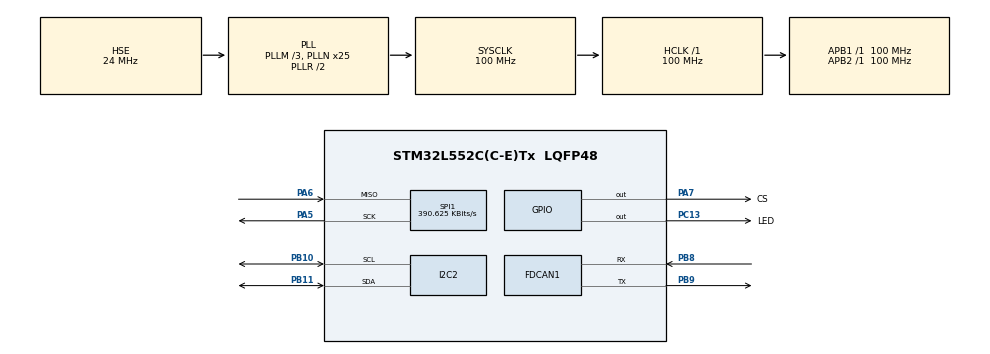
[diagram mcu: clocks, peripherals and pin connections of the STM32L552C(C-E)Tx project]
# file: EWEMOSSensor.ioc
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FDCAN1.AutoRetransmission=ENABLE
FDCAN1.CalculateBaudRateNominal=500000
FDCAN1.CalculateTimeBitNominal=2000
FDCAN1.CalculateTimeQuantumNominal=20.0
FDCAN1.ClockDivider=FDCAN_CLOCK_DIV2
FDCAN1.DataPrescaler=2
FDCAN1.DataSyncJumpWidth=12
FDCAN1.DataTimeSeg1=12
FDCAN1.DataTimeSeg2=12
FDCAN1.FrameFormat=FDCAN_FRAME_FD_NO_BRS
FDCAN1.NominalPrescaler=1
FDCAN1.NominalSyncJumpWidth=2
FDCAN1.NominalTimeSeg1=97
FDCAN1.StdFiltersNbr=1
I2C2.Timing=0x10C0ECFF
Mcu.Family=STM32L5
Mcu.Name=STM32L552C(C-E)Tx
Mcu.Package=LQFP48
NVIC.FDCAN1_IT0_IRQn=true\:5\:0\:true\:false\:true\:true\:true\:true
NVIC.PriorityGroup=NVIC_PRIORITYGROUP_3
PA13\ (JTMS/SWDIO).Mode=Trace_Asynchronous_SW
PA13\ (JTMS/SWDIO).Signal=DEBUG_JTMS-SWDIO
PA14\ (JTCK/SWCLK).Mode=Trace_Asynchronous_SW
PA14\ (JTCK/SWCLK).Signal=DEBUG_JTCK-SWCLK
PA5.Mode=RX_Only_Simplex_Unidirect_Master
PA5.Signal=SPI1_SCK
PA6.Mode=RX_Only_Simplex_Unidirect_Master
PA6.Signal=SPI1_MISO
PA7.GPIO_Label=CS
PA7.Signal=GPIO_Output
PB10.Mode=I2C
PB10.Signal=I2C2_SCL
PB11.Mode=I2C
PB11.Signal=I2C2_SDA
PB3\ (JTDO/TRACESWO).Mode=Trace_Asynchronous_SW
PB3\ (JTDO/TRACESWO).Signal=DEBUG_JTDO-SWO
PB8.Mode=FDCAN_Activate
PB8.Signal=FDCAN1_RX
PB9.Mode=FDCAN_Activate
PB9.Signal=FDCAN1_TX
PC13.GPIO_Label=LED
PC13.Signal=GPIO_Output
PH0-OSC_IN\ (PH0).Mode=HSE-External-Oscillator
PH0-OSC_IN\ (PH0).Signal=RCC_OSC_IN
PH1-OSC_OUT\ (PH1).Mode=HSE-External-Oscillator
PH1-OSC_OUT\ (PH1).Signal=RCC_OSC_OUT
ProjectManager.HeapSize=0x200
ProjectManager.StackSize=0x400
ProjectManager.TargetToolchain=CMake
RCC.ADCFreq_Value=48000000
RCC.AHBFreq_Value=100000000
RCC.APB1Freq_Value=100000000
RCC.APB1TimFreq_Value=100000000
RCC.APB2Freq_Value=100000000
RCC.APB2TimFreq_Value=100000000
RCC.CortexFreq_Value=100000000
RCC.HCLKFreq_Value=100000000
RCC.HSE_VALUE=24000000
RCC.HSI48_VALUE=48000000
RCC.HSI_VALUE=16000000
RCC.LSE_VALUE=32768
RCC.MSI_VALUE=4000000
RCC.PLLM=3
RCC.PLLN=25
RCC.PLLSAI1M=3
RCC.PLLSAI1N=12
RCC.PLLSAI1Source=RCC_PLLSAI1SOURCE_HSE
RCC.PLLSAI2Source=RCC_PLLSAI2SOURCE_HSE
RCC.PLLSourceVirtual=RCC_PLLSOURCE_HSE
RCC.SYSCLKFreq_VALUE=100000000
RCC.SYSCLKSource=RCC_SYSCLKSOURCE_PLLCLK
RCC.USBFreq_Value=48000000
RCC.VCOOutputFreq_Value=200000000
SPI1.BaudRatePrescaler=SPI_BAUDRATEPRESCALER_256
SPI1.CalculateBaudRate=390.625 KBits/s
SPI1.DataSize=SPI_DATASIZE_16BIT
SPI1.Direction=SPI_DIRECTION_2LINES_RXONLY
SPI1.Mode=SPI_MODE_MASTER
SPI1.VirtualType=VM_MASTER
VP_ICACHE_VS_ICACHE.Mode=DirectMappedCache
VP_PWR_VS_DBSignals.Mode=DisableDeadBatterySignals
VP_PWR_VS_SECSignals.Mode=Security/Privilege
board=custom

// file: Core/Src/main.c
/* USER CODE BEGIN Header */
///////////**
//////////  ******************************************************************************
//////////  * @file           : main.c
//////////  * @brief          : Main program body
//////////  ******************************************************************************
//////////  * @attention
//////////  *
//////////  * Copyright (c) 2024 STMicroelectronics.
//////////  * All rights reserved.
//////////  *
//////////  * This software is licensed under terms that can be found in the LICENSE file
//////////  * in the root directory of this software component.
//////////  * If no LICENSE file comes with this software, it is provided AS-IS.
//////////  *
//////////  ******************************************************************************
//////////  */
/* USER CODE END Header */
#include "main.h"

/* USER CODE BEGIN Includes */
#include <memory.h>
#include <stdio.h>
#include "CAN.h"
#include "uid_hash.h"
/* USER CODE END Includes */

FDCAN_HandleTypeDef hfdcan1;

I2C_HandleTypeDef hi2c2;

SPI_HandleTypeDef hspi1;

/* USER CODE BEGIN PV */
//////////
/* USER CODE END PV */

void SystemClock_Config(void);
static void MX_GPIO_Init(void);
static void MX_ICACHE_Init(void);
static void MX_SPI1_Init(void);
static void MX_FDCAN1_Init(void);
static void MX_I2C2_Init(void);

/* USER CODE BEGIN 0 */
volatile uint8_t initialized;
uint32_t ID;
DeviceConfig Config;

FDCAN_TxHeaderTypeDef TxHeader;
FDCAN_RxHeaderTypeDef RxHeader;

CANMessage TxMessage;
CANMessage RxMessage;
/* USER CODE END 0 */

int main(void)
{

  /* MCU Configuration--------------------------------------------------------*/

  /* Reset of all peripherals, Initializes the Flash interface and the Systick. */
  HAL_Init();

  /* USER CODE BEGIN Init */
	ID = Hash32Len5to12((char*)UID_BASE, 12);
  /* USER CODE END Init */

  /* Configure the system clock */
  SystemClock_Config();

  /* Initialize all configured peripherals */
  MX_GPIO_Init();
  MX_ICACHE_Init();
  MX_SPI1_Init();
  MX_FDCAN1_Init();
  MX_I2C2_Init();
  /* USER CODE BEGIN 2 */
	if (HAL_I2C_Mem_Read(&hi2c2, 0xA0, 0, I2C_MEMADD_SIZE_8BIT, (uint8_t*)&Config, sizeof(Config), 1000) != HAL_OK)
	{
		Config.Interval = 1000;
		Config.Type = 0;
		char* name = "NAME_ERROR";
		memcpy(Config.Name, name, strlen(name));
		printf("Failed to read config from EEPROM\n");
	}
	else printf("Sucessfully read config from EEPROM\n");

	if (Config.Interval < 100)Config.Interval = 100;
	if (Config.Interval > 300000)Config.Interval = 300000;
  /* USER CODE END 2 */

  /* Infinite loop */
  /* USER CODE BEGIN WHILE */
	TxHeader.Identifier = *(uint8_t*)&ID;
	TxHeader.DataLength = FDCAN_DLC_BYTES_48;

	TxMessage.ID = ID;
	TxMessage.type = CONF_DATA;
	TxMessage.data.config = Config;

	HAL_FDCAN_AddMessageToTxFifoQ(&hfdcan1, &TxHeader, (uint8_t*)&TxMessage);

	HAL_GPIO_WritePin(CS_GPIO_Port, CS_Pin, GPIO_PIN_SET);

	float f = 0.0f;

	while (1)
	{
    /* USER CODE END WHILE */

    /* USER CODE BEGIN 3 */
		// NOTE: wouldn't TIM + interrupt be better
		if (!initialized)
			continue;

		CAN_SendHeartbeat(ID);

		// note: maybe the sinf issue was with stacksize?

		//float temperature = MAX6675_Read_Temp(&hspi1, CS_GPIO_Port, CS_Pin);
		float val = (float)(f += 0.5f);
		CAN_SendData(ID, FLOAT, &val);

		HAL_GPIO_TogglePin(LED_GPIO_Port, LED_Pin);
		HAL_Delay(Config.Interval);
	}
  /* USER CODE END 3 */
}

void SystemClock_Config(void)
{
  RCC_OscInitTypeDef RCC_OscInitStruct = {0};
  RCC_ClkInitTypeDef RCC_ClkInitStruct = {0};

  /** Configure the main internal regulator output voltage
  */
  if (HAL_PWREx_ControlVoltageScaling(PWR_REGULATOR_VOLTAGE_SCALE0) != HAL_OK)
  {
    Error_Handler();
  }

  /** Initializes the RCC Oscillators according to the specified parameters
  * in the RCC_OscInitTypeDef structure.
  */
  RCC_OscInitStruct.OscillatorType = RCC_OSCILLATORTYPE_HSE;
  RCC_OscInitStruct.HSEState = RCC_HSE_ON;
  RCC_OscInitStruct.PLL.PLLState = RCC_PLL_ON;
  RCC_OscInitStruct.PLL.PLLSource = RCC_PLLSOURCE_HSE;
  RCC_OscInitStruct.PLL.PLLM = 3;
  RCC_OscInitStruct.PLL.PLLN = 25;
  RCC_OscInitStruct.PLL.PLLP = RCC_PLLP_DIV7;
  RCC_OscInitStruct.PLL.PLLQ = RCC_PLLQ_DIV2;
  RCC_OscInitStruct.PLL.PLLR = RCC_PLLR_DIV2;
  if (HAL_RCC_OscConfig(&RCC_OscInitStruct) != HAL_OK)
  {
    Error_Handler();
  }

  /** Initializes the CPU, AHB and APB buses clocks
  */
  RCC_ClkInitStruct.ClockType = RCC_CLOCKTYPE_HCLK|RCC_CLOCKTYPE_SYSCLK
                              |RCC_CLOCKTYPE_PCLK1|RCC_CLOCKTYPE_PCLK2;
  RCC_ClkInitStruct.SYSCLKSource = RCC_SYSCLKSOURCE_PLLCLK;
  RCC_ClkInitStruct.AHBCLKDivider = RCC_SYSCLK_DIV1;
  RCC_ClkInitStruct.APB1CLKDivider = RCC_HCLK_DIV1;
  RCC_ClkInitStruct.APB2CLKDivider = RCC_HCLK_DIV1;

  if (HAL_RCC_ClockConfig(&RCC_ClkInitStruct, FLASH_LATENCY_4) != HAL_OK)
  {
    Error_Handler();
  }
}

static void MX_FDCAN1_Init(void)
{

  /* USER CODE BEGIN FDCAN1_Init 0 */
//////////
  /* USER CODE END FDCAN1_Init 0 */

  /* USER CODE BEGIN FDCAN1_Init 1 */
//////////
  /* USER CODE END FDCAN1_Init 1 */
  hfdcan1.Instance = FDCAN1;
  hfdcan1.Init.ClockDivider = FDCAN_CLOCK_DIV2;
  hfdcan1.Init.FrameFormat = FDCAN_FRAME_FD_NO_BRS;
  hfdcan1.Init.Mode = FDCAN_MODE_NORMAL;
  hfdcan1.Init.AutoRetransmission = ENABLE;
  hfdcan1.Init.TransmitPause = DISABLE;
  hfdcan1.Init.ProtocolException = DISABLE;
  hfdcan1.Init.NominalPrescaler = 1;
  hfdcan1.Init.NominalSyncJumpWidth = 2;
  hfdcan1.Init.NominalTimeSeg1 = 97;
  hfdcan1.Init.NominalTimeSeg2 = 2;
  hfdcan1.Init.DataPrescaler = 2;
  hfdcan1.Init.DataSyncJumpWidth = 12;
  hfdcan1.Init.DataTimeSeg1 = 12;
  hfdcan1.Init.DataTimeSeg2 = 12;
  hfdcan1.Init.StdFiltersNbr = 1;
  hfdcan1.Init.ExtFiltersNbr = 0;
  hfdcan1.Init.TxFifoQueueMode = FDCAN_TX_FIFO_OPERATION;
  if (HAL_FDCAN_Init(&hfdcan1) != HAL_OK)
  {
    Error_Handler();
  }
  /* USER CODE BEGIN FDCAN1_Init 2 */
	FDCAN_FilterTypeDef sFilterConfig;

	/* Configure Rx filter */
	sFilterConfig.IdType = FDCAN_STANDARD_ID;
	sFilterConfig.FilterIndex = 0;
	sFilterConfig.FilterType = FDCAN_FILTER_RANGE;
	sFilterConfig.FilterConfig = FDCAN_FILTER_TO_RXFIFO0;
	sFilterConfig.FilterID1 = 0x01;
	sFilterConfig.FilterID2 = 0x02;
	if (HAL_FDCAN_ConfigFilter(&hfdcan1, &sFilterConfig) != HAL_OK)
	{
		Error_Handler();
	}

	if (HAL_FDCAN_ConfigGlobalFilter(&hfdcan1, FDCAN_REJECT, FDCAN_REJECT, FDCAN_FILTER_REMOTE, FDCAN_FILTER_REMOTE) != HAL_OK)
	{
		Error_Handler();
	}

	TxHeader.IdType = FDCAN_STANDARD_ID;
	TxHeader.TxFrameType = FDCAN_DATA_FRAME;
	TxHeader.ErrorStateIndicator = FDCAN_ESI_ACTIVE;
	TxHeader.BitRateSwitch = FDCAN_BRS_OFF;
	TxHeader.FDFormat = FDCAN_FD_CAN;
	TxHeader.TxEventFifoControl = FDCAN_NO_TX_EVENTS;
	TxHeader.MessageMarker = 0;

	/* Start the FDCAN module */
	if (HAL_FDCAN_Start(&hfdcan1) != HAL_OK)
	{
		Error_Handler();
	}

	if (HAL_FDCAN_ActivateNotification(&hfdcan1, FDCAN_IT_RX_FIFO0_NEW_MESSAGE, 0) != HAL_OK)
	{
		Error_Handler();
	}
  /* USER CODE END FDCAN1_Init 2 */

}

static void MX_I2C2_Init(void)
{

  /* USER CODE BEGIN I2C2_Init 0 */
//
  /* USER CODE END I2C2_Init 0 */

  /* USER CODE BEGIN I2C2_Init 1 */
//
  /* USER CODE END I2C2_Init 1 */
  hi2c2.Instance = I2C2;
  hi2c2.Init.Timing = 0x10C0ECFF;
  hi2c2.Init.OwnAddress1 = 0;
  hi2c2.Init.AddressingMode = I2C_ADDRESSINGMODE_7BIT;
  hi2c2.Init.DualAddressMode = I2C_DUALADDRESS_DISABLE;
  hi2c2.Init.OwnAddress2 = 0;
  hi2c2.Init.OwnAddress2Masks = I2C_OA2_NOMASK;
  hi2c2.Init.GeneralCallMode = I2C_GENERALCALL_DISABLE;
  hi2c2.Init.NoStretchMode = I2C_NOSTRETCH_DISABLE;
  if (HAL_I2C_Init(&hi2c2) != HAL_OK)
  {
    Error_Handler();
  }

  /** Configure Analogue filter
  */
  if (HAL_I2CEx_ConfigAnalogFilter(&hi2c2, I2C_ANALOGFILTER_ENABLE) != HAL_OK)
  {
    Error_Handler();
  }

  /** Configure Digital filter
  */
  if (HAL_I2CEx_ConfigDigitalFilter(&hi2c2, 0) != HAL_OK)
  {
    Error_Handler();
  }
  /* USER CODE BEGIN I2C2_Init 2 */
//
  /* USER CODE END I2C2_Init 2 */

}

static void MX_ICACHE_Init(void)
{

  /* USER CODE BEGIN ICACHE_Init 0 */
//////////
  /* USER CODE END ICACHE_Init 0 */

  /* USER CODE BEGIN ICACHE_Init 1 */
//////////
  /* USER CODE END ICACHE_Init 1 */

  /** Enable instruction cache in 1-way (direct mapped cache)
  */
  if (HAL_ICACHE_ConfigAssociativityMode(ICACHE_1WAY) != HAL_OK)
  {
    Error_Handler();
  }
  if (HAL_ICACHE_Enable() != HAL_OK)
  {
    Error_Handler();
  }
  /* USER CODE BEGIN ICACHE_Init 2 */
//////////
  /* USER CODE END ICACHE_Init 2 */

}

static void MX_SPI1_Init(void)
{

  /* USER CODE BEGIN SPI1_Init 0 */
//////////
  /* USER CODE END SPI1_Init 0 */

  /* USER CODE BEGIN SPI1_Init 1 */
//////////
  /* USER CODE END SPI1_Init 1 */
  /* SPI1 parameter configuration*/
  hspi1.Instance = SPI1;
  hspi1.Init.Mode = SPI_MODE_MASTER;
  hspi1.Init.Direction = SPI_DIRECTION_2LINES_RXONLY;
  hspi1.Init.DataSize = SPI_DATASIZE_16BIT;
  hspi1.Init.CLKPolarity = SPI_POLARITY_LOW;
  hspi1.Init.CLKPhase = SPI_PHASE_1EDGE;
  hspi1.Init.NSS = SPI_NSS_SOFT;
  hspi1.Init.BaudRatePrescaler = SPI_BAUDRATEPRESCALER_256;
  hspi1.Init.FirstBit = SPI_FIRSTBIT_MSB;
  hspi1.Init.TIMode = SPI_TIMODE_DISABLE;
  hspi1.Init.CRCCalculation = SPI_CRCCALCULATION_DISABLE;
  hspi1.Init.CRCPolynomial = 7;
  hspi1.Init.CRCLength = SPI_CRC_LENGTH_DATASIZE;
  hspi1.Init.NSSPMode = SPI_NSS_PULSE_ENABLE;
  if (HAL_SPI_Init(&hspi1) != HAL_OK)
  {
    Error_Handler();
  }
  /* USER CODE BEGIN SPI1_Init 2 */
//////////
  /* USER CODE END SPI1_Init 2 */

}

static void MX_GPIO_Init(void)
{
  GPIO_InitTypeDef GPIO_InitStruct = {0};

  /* GPIO Ports Clock Enable */
  __HAL_RCC_GPIOC_CLK_ENABLE();
  __HAL_RCC_GPIOH_CLK_ENABLE();
  __HAL_RCC_GPIOA_CLK_ENABLE();
  __HAL_RCC_GPIOB_CLK_ENABLE();

  /*Configure GPIO pin Output Level */
  HAL_GPIO_WritePin(LED_GPIO_Port, LED_Pin, GPIO_PIN_RESET);

  /*Configure GPIO pin Output Level */
  HAL_GPIO_WritePin(CS_GPIO_Port, CS_Pin, GPIO_PIN_RESET);

  /*Configure GPIO pin : LED_Pin */
  GPIO_InitStruct.Pin = LED_Pin;
  GPIO_InitStruct.Mode = GPIO_MODE_OUTPUT_PP;
  GPIO_InitStruct.Pull = GPIO_NOPULL;
  GPIO_InitStruct.Speed = GPIO_SPEED_FREQ_LOW;
  HAL_GPIO_Init(LED_GPIO_Port, &GPIO_InitStruct);

  /*Configure GPIO pin : CS_Pin */
  GPIO_InitStruct.Pin = CS_Pin;
  GPIO_InitStruct.Mode = GPIO_MODE_OUTPUT_PP;
  GPIO_InitStruct.Pull = GPIO_NOPULL;
  GPIO_InitStruct.Speed = GPIO_SPEED_FREQ_LOW;
  HAL_GPIO_Init(CS_GPIO_Port, &GPIO_InitStruct);

}

/* USER CODE BEGIN 4 */
extern void EEPROM_Write(I2C_HandleTypeDef* i2c, uint16_t address, uint8_t* data, uint16_t size);

void ProcessMessage()
{
	switch (RxMessage.type)
	{
		case CONF_REQUEST:
		{
			TxHeader.Identifier = *(uint8_t*)&ID;
			TxHeader.DataLength = FDCAN_DLC_BYTES_48;

			TxMessage.ID = ID;
			TxMessage.type = CONF_DATA;
			TxMessage.data.config = Config;

			HAL_FDCAN_AddMessageToTxFifoQ(&hfdcan1, &TxHeader, (uint8_t*)&TxMessage);

			break;
		}
		case CONF_ACK:
		{
			if (RxMessage.ID == ID)
				initialized = 1;
			break;
		}
		case CONF_DATA:
		{
			if (RxMessage.ID == ID)
			{
				Config = RxMessage.data.config;
				EEPROM_Write(&hi2c2, 0, (uint8_t*)&Config, sizeof(Config));
			}
			break;
		}
		default:
			break;
	}
}

void HAL_FDCAN_RxFifo0Callback(FDCAN_HandleTypeDef* hfdcan, uint32_t RxFifo0ITs)
{
	if ((RxFifo0ITs & FDCAN_IT_RX_FIFO0_NEW_MESSAGE) != RESET)
	{
		/* Retrieve Rx messages from RX FIFO0 */
		if (HAL_FDCAN_GetRxMessage(hfdcan, FDCAN_RX_FIFO0, &RxHeader, (uint8_t*)&RxMessage) != HAL_OK)
		{
			/* Reception Error */
			Error_Handler();
		}

		ProcessMessage();

		if (HAL_FDCAN_ActivateNotification(hfdcan, FDCAN_IT_RX_FIFO0_NEW_MESSAGE, 0) != HAL_OK)
		{
			/* Notification Error */
			Error_Handler();
		}
	}
}
/* USER CODE END 4 */

void Error_Handler(void)
{
	__disable_irq();
	while (1)
	{
	}
}

#ifdef  USE_FULL_ASSERT
/**
  * @brief  Reports the name of the source file and the source line number
  *         where the assert_param error has occurred.
  * @param  file: pointer to the source file name
  * @param  line: assert_param error line source number
  * @retval None
  */
void assert_failed(uint8_t *file, uint32_t line)
{
  /* USER CODE BEGIN 6 */
//////////  /* User can add his own implementation to report the file name and line number,
//////////     ex: printf("Wrong parameters value: file %s on line %d\r\n", file, line) */
  /* USER CODE END 6 */
}
#endif /* USE_FULL_ASSERT */
